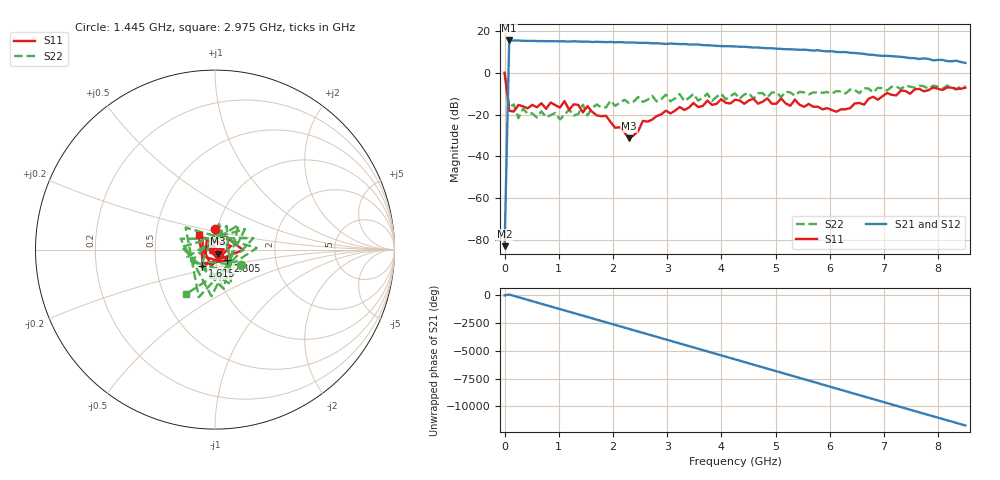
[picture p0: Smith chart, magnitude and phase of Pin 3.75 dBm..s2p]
! RsaToolbox (C) 2013 Rohde & Schwarz America
! Number of points: 101
! Number of ports: 2
! Balanced ports?: 0
# Hz S RI R 50
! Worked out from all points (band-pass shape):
!   101 points, 9 kHz to 8.5 GHz, reference 50 ohm
!   highest |S21| = 15.29 dB at 85.01 MHz (marker M1); lowest = -82.7 dB at 9 kHz (marker M2)
!   |S21| within 3 dB of the highest: 82.41 MHz to 4.363 GHz (4.28 GHz wide, 193 % of centre)
!   lowest |S11| = -31.3 dB at 2.295 GHz (marker M3), VSWR 1.06, Z = 51.5 - j2.29 ohm
!   |S11| at or under -10 dB: 46.5 MHz to 7.043 GHz (6.997 GHz wide, 197 % of centre); 7.077 GHz to 7.258 GHz (180.5 MHz wide, 2.52 % of centre); 7.47356 GHz to 7.483954 GHz (10.39 MHz wide, 0.139 % of centre)
!   |S22| runs from -22.4 to 0.0 dB; largest |S21 - S12| = 0
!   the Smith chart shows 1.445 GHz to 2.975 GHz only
!   S11 on the Smith chart (normalised r, x): 1.445 GHz: 0.98, +0.22; 1.615 GHz: 0.85, -0.16; 2.805 GHz: 1.14, -0.14; 2.975 GHz: 0.82, +0.14
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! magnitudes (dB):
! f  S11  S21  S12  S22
! 9 kHz  -0.1  -82.7  -82.7  0.0
! 85.01 MHz  -18.2  15.3  15.3  -16.6
! 170 MHz  -18.6  15.2  15.2  -15.2
! 255 MHz  -15.5  15.3  15.3  -21.7
! 340 MHz  -16.1  15.1  15.1  -17.2
! 1.02 GHz  -16.7  14.9  14.9  -22.4
! 1.105 GHz  -13.6  14.9  14.9  -20.1
! 1.19 GHz  -17.7  14.8  14.8  -17.6
! 1.36 GHz  -15.4  14.8  14.8  -19.8
! 1.445 GHz  -19.0  14.7  14.7  -15.3
! 1.53 GHz  -16.0  14.8  14.8  -20.4
! 1.615 GHz  -18.7  14.5  14.5  -16.8
! 2.295 GHz  -31.3  14.3  14.3  -14.5
! 2.805 GHz  -20.8  13.9  13.9  -13.8
! 2.89 GHz  -19.9  13.8  13.8  -12.7
! 2.975 GHz  -18.2  13.6  13.6  -10.5
! 3.825 GHz  -15.4  12.9  12.9  -13.5
! 4.25 GHz  -13.0  12.4  12.4  -9.9
! 5.695 GHz  -16.3  10.4  10.4  -9.5
! 6.12 GHz  -18.7  9.8  9.8  -8.8
! 7.14 GHz  -10.6  7.8  7.8  -6.8
! 8.5 GHz  -7.2  4.6  4.6  -6.7
